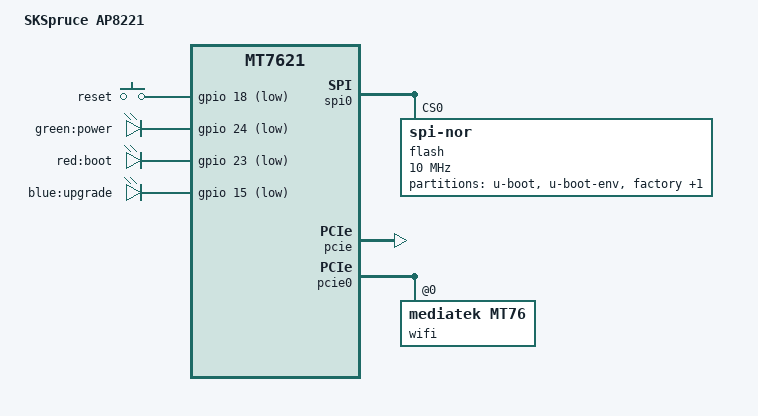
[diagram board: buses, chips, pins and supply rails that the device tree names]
// SPDX-License-Identifier: GPL-2.0-or-later OR MIT

#include "mt7621.dtsi"

#include <dt-bindings/gpio/gpio.h>
#include <dt-bindings/input/input.h>
#include <dt-bindings/leds/common.h>

/ {
	compatible = "skspruce,ap8221", "mediatek,mt7621-soc";
	model = "SKSpruce AP8221";

	aliases {
		led-boot = &led_power;
		led-failsafe = &led_power;
		led-running = &led_power;
		led-upgrade = &led_boot;
	};

	keys {
		compatible = "gpio-keys";

		reset {
			label = "reset";
			gpios = <&gpio 18 GPIO_ACTIVE_LOW>;
			linux,code = <KEY_RESTART>;
		};
	};

	leds {
		compatible = "gpio-leds";

		led_power: power {
			label = "green:power";
			gpios = <&gpio 24 GPIO_ACTIVE_LOW>;
			default-state = "on";
		};

		led_boot: boot {
			label = "red:boot";
			gpios = <&gpio 23 GPIO_ACTIVE_LOW>;
		};

		led_upgrade: upgrade {
			label = "blue:upgrade";
			gpios = <&gpio 15 GPIO_ACTIVE_LOW>;
		};
	};
};

&spi0 {
	status = "okay";

	flash@0 {
		compatible = "jedec,spi-nor";
		reg = <0>;
		spi-max-frequency = <10000000>;

		partitions {
			compatible = "fixed-partitions";
			#address-cells = <1>;
			#size-cells = <1>;

			partition@0 {
				label = "u-boot";
				reg = <0x000000 0x030000>;
				read-only;
			};

			partition@30000 {
				label = "u-boot-env";
				reg = <0x030000 0x010000>;
			};

			factory: partition@40000 {
				label = "factory";
				reg = <0x040000 0x010000>;
				read-only;
			};

			partition@50000 {
				compatible = "denx,uimage";
				label = "firmware";
				reg = <0x050000 0x1fb0000>;
			};
		};
	};
};

&pcie {
	status = "okay";
};

&pcie0 {
	wifi@0,0 {
		compatible = "mediatek,mt76";
		reg = <0x0000 0 0 0 0>;
		mediatek,mtd-eeprom = <&factory 0x0000>;
		ieee80211-freq-limit = <2400000 2500000>, <5000000 6000000>;
	};
};

&gmac0 {
	nvmem-cells = <&macaddr_factory_e000>;
	nvmem-cell-names = "mac-address";
};

&switch0 {
	ports {
		port@0 {
			status = "okay";
			label = "wan";
		};

		port@1 {
			status = "okay";
			label = "lan";
		};
	};
};

&state_default {
	gpio {
		groups = "jtag", "uart2", "uart3", "wdt";
		function = "gpio";
	};
};

&factory {
	compatible = "nvmem-cells";
	#address-cells = <1>;
	#size-cells = <1>;

	macaddr_factory_e000: macaddr@e000 {
		reg = <0xe000 0x6>;
	};
};
